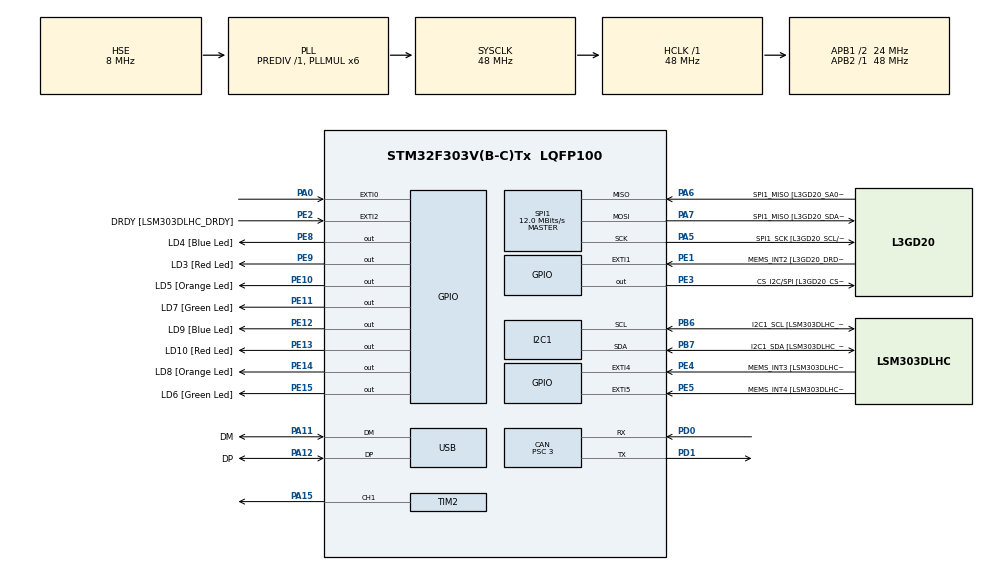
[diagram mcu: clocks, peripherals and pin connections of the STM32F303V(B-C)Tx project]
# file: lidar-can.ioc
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CAN.BS1=CAN_BS1_6TQ
CAN.CalculateBaudRate=1000000
CAN.CalculateTimeBit=1000
CAN.CalculateTimeQuantum=125.0
CAN.Mode=CAN_MODE_NORMAL
CAN.Prescaler=3
I2C1.Timing-I2C=0x2000090E
Mcu.Family=STM32F3
Mcu.Name=STM32F303V(B-C)Tx
Mcu.Package=LQFP100
NVIC.CAN_RX1_IRQn=true\:0\:0\:false\:false\:true\:true\:true\:true
NVIC.EXTI0_IRQn=true\:0\:0\:false\:false\:true\:true\:true\:true
NVIC.PriorityGroup=NVIC_PRIORITYGROUP_0
NVIC.USB_LP_CAN_RX0_IRQn=true\:0\:0\:false\:false\:true\:true\:true\:true
PA0.Signal=GPXTI0
PA11.GPIO_Label=DM
PA11.Mode=Device
PA11.Signal=USB_DM
PA12.GPIO_Label=DP
PA12.Mode=Device
PA12.Signal=USB_DP
PA13.GPIO_Label=SWDIO
PA13.Mode=Serial_Wire
PA13.Signal=SYS_JTMS-SWDIO
PA14.GPIO_Label=SWCLK
PA14.Mode=Serial_Wire
PA14.Signal=SYS_JTCK-SWCLK
PA15.Signal=S_TIM2_CH1_ETR
PA5.GPIO_Label=SPI1_SCK [L3GD20_SCL/SPC]
PA5.Mode=Full_Duplex_Master
PA5.Signal=SPI1_SCK
PA6.GPIO_Label=SPI1_MISO [L3GD20_SA0/SDO]
PA6.Mode=Full_Duplex_Master
PA6.Signal=SPI1_MISO
PA7.GPIO_Label=SPI1_MISO [L3GD20_SDA/SDI/SDO]
PA7.Mode=Full_Duplex_Master
PA7.Signal=SPI1_MOSI
PB3.GPIO_Label=SWO
PB3.Signal=SYS_JTDO-TRACESWO
PB6.GPIO_Label=I2C1_SCL [LSM303DLHC_SCL]
PB6.GPIO_Pu=GPIO_PULLUP
PB6.Mode=I2C
PB6.Signal=I2C1_SCL
PB7.GPIO_Label=I2C1_SDA [LSM303DLHC_SDA]
PB7.GPIO_Pu=GPIO_PULLUP
PB7.Mode=I2C
PB7.Signal=I2C1_SDA
PC14-OSC32_IN.GPIO_Label=OSC32_IN
PC14-OSC32_IN.Mode=LSE-External-Oscillator
PC14-OSC32_IN.Signal=RCC_OSC32_IN
PC15-OSC32_OUT.GPIO_Label=OSC32_OUT
PC15-OSC32_OUT.Mode=LSE-External-Oscillator
PC15-OSC32_OUT.Signal=RCC_OSC32_OUT
PD0.GPIO_PuPd=GPIO_PULLUP
PD0.Mode=CAN_Activate
PD0.Signal=CAN_RX
PD1.GPIO_PuPd=GPIO_NOPULL
PD1.Mode=CAN_Activate
PD1.Signal=CAN_TX
PE1.GPIO_Label=MEMS_INT2 [L3GD20_DRDY/INT2]
PE1.GPIO_ModeDefaultEXTI=GPIO_MODE_EVT_RISING
PE1.Signal=GPXTI1
PE10.GPIO_Label=LD5 [Orange Led]
PE10.Signal=GPIO_Output
PE11.GPIO_Label=LD7 [Green Led]
PE11.Signal=GPIO_Output
PE12.GPIO_Label=LD9 [Blue Led]
PE12.Signal=GPIO_Output
PE13.GPIO_Label=LD10 [Red Led]
PE13.Signal=GPIO_Output
PE14.GPIO_Label=LD8 [Orange Led]
PE14.Signal=GPIO_Output
PE15.GPIO_Label=LD6 [Green Led]
PE15.Signal=GPIO_Output
PE2.GPIO_Label=DRDY [LSM303DLHC_DRDY]
PE2.GPIO_ModeDefaultEXTI=GPIO_MODE_EVT_RISING
PE2.Signal=GPXTI2
PE3.GPIO_Label=CS_I2C/SPI [L3GD20_CS_I2C/SPI]
PE3.Signal=GPIO_Output
PE4.GPIO_Label=MEMS_INT3 [LSM303DLHC_INT1]
PE4.GPIO_ModeDefaultEXTI=GPIO_MODE_EVT_RISING
PE4.Signal=GPXTI4
PE5.GPIO_Label=MEMS_INT4 [LSM303DLHC_INT2]
PE5.GPIO_ModeDefaultEXTI=GPIO_MODE_EVT_RISING
PE5.Signal=GPXTI5
PE8.GPIO_Label=LD4 [Blue Led]
PE8.Signal=GPIO_Output
PE9.GPIO_Label=LD3 [Red Led]
PE9.Signal=GPIO_Output
PF0-OSC_IN.GPIO_Label=OSC_IN
PF0-OSC_IN.Mode=HSE-External-Oscillator
PF0-OSC_IN.Signal=RCC_OSC_IN
PF1-OSC_OUT.GPIO_Label=OSC_OUT
PF1-OSC_OUT.Mode=HSE-External-Oscillator
PF1-OSC_OUT.Signal=RCC_OSC_OUT
ProjectManager.HeapSize=0x200
ProjectManager.StackSize=0x400
ProjectManager.TargetToolchain=STM32CubeIDE
RCC.AHBFreq_Value=48000000
RCC.APB1CLKDivider=RCC_HCLK_DIV2
RCC.APB1Freq_Value=24000000
RCC.APB1TimFreq_Value=48000000
RCC.APB2Freq_Value=48000000
RCC.APB2TimFreq_Value=48000000
RCC.CortexFreq_Value=48000000
RCC.HCLKFreq_Value=48000000
RCC.HSE_VALUE=8000000
RCC.HSI_VALUE=8000000
RCC.PLLMUL=RCC_PLL_MUL6
RCC.SYSCLKFreq_VALUE=48000000
RCC.SYSCLKSourceVirtual=RCC_SYSCLKSOURCE_PLLCLK
RCC.USBFreq_Value=48000000
SH.S_TIM2_CH1_ETR.0=TIM2_CH1,PWM Generation1 CH1
SPI1.BaudRatePrescaler=SPI_BAUDRATEPRESCALER_4
SPI1.BaudRatePrescaler-Full_Duplex_Master=SPI_BAUDRATEPRESCALER_2
SPI1.CalculateBaudRate=12.0 MBits/s
SPI1.CalculateBaudRate-Full_Duplex_Master=24.0 MBits/s
SPI1.Direction=SPI_DIRECTION_2LINES
SPI1.Mode=SPI_MODE_MASTER
SPI1.Mode-Full_Duplex_Master=SPI_MODE_MASTER
SPI1.VirtualType=VM_MASTER
TIM2.Channel-PWM\ Generation1\ CH1=TIM_CHANNEL_1
TIM2.Period=200-1
TIM2.Prescaler=4800-1
VP_TIM2_VS_ClockSourceINT.Mode=Internal
board=STM32F3DISCOVERY

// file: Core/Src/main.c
/* USER CODE BEGIN Header */
/**
  ******************************************************************************
  * @file           : main.c
  * @brief          : Main program body
  ******************************************************************************
  * @attention
  *
  * Copyright (c) 2024 STMicroelectronics.
  * All rights reserved.
  *
  * This software is licensed under terms that can be found in the LICENSE file
  * in the root directory of this software component.
  * If no LICENSE file comes with this software, it is provided AS-IS.
  *
  ******************************************************************************
  */
/* USER CODE END Header */
#include "main.h"

/* USER CODE BEGIN PTD */

#define LIDAR_ADD 0x62<<1										// i2c slave address of lidar lite

uint32_t m_distance,object_distance;							// define the variable to get distance value
uint8_t cmd[1];
uint8_t data[2]={10};
//char str[100];

/* USER CODE END PTD */

CAN_HandleTypeDef hcan;

I2C_HandleTypeDef hi2c1;

SPI_HandleTypeDef hspi1;

TIM_HandleTypeDef htim2;

PCD_HandleTypeDef hpcd_USB_FS;

void SystemClock_Config(void);
static void MX_GPIO_Init(void);
static void MX_I2C1_Init(void);
static void MX_SPI1_Init(void);
static void MX_USB_PCD_Init(void);
static void MX_CAN_Init(void);
static void MX_TIM2_Init(void);
/* USER CODE BEGIN PFP */

void configuration_set(int configur);
uint16_t Get_distance();
void one_iteration(uint8_t angle);

/* USER CODE END PFP */

/* USER CODE BEGIN 0 */
CAN_TxHeaderTypeDef txHeader;
CAN_RxHeaderTypeDef RxHeader;
uint8_t TxData[3];
uint8_t RxData[8];
uint32_t mailbox;

uint8_t upper_bound = 25;
uint8_t lower_bound = 7;
int universal_delay = 150;
uint16_t distance = 0;

void HAL_CAN_RxFifo0MsgPendingCallback(CAN_HandleTypeDef *hcan)
{
    HAL_CAN_GetRxMessage(hcan, CAN_RX_FIFO0, &RxHeader, RxData);
    HAL_GPIO_WritePin(GPIOE, GPIO_PIN_10, GPIO_PIN_SET);
}

void HAL_CAN_RxFifo1MsgPendingCallback(CAN_HandleTypeDef *hcan)
{
    HAL_CAN_GetRxMessage(hcan, CAN_RX_FIFO1, &RxHeader, RxData);
    HAL_GPIO_WritePin(GPIOE, GPIO_PIN_11, GPIO_PIN_SET);
}

//bool datacheck = false;

/* USER CODE END 0 */

int main(void)
{

  /* MCU Configuration--------------------------------------------------------*/

  /* Reset of all peripherals, Initializes the Flash interface and the Systick. */
  HAL_Init();

  /* Configure the system clock */
  SystemClock_Config();

  /* Initialize all configured peripherals */
  MX_GPIO_Init();
  MX_I2C1_Init();
  MX_SPI1_Init();
  MX_USB_PCD_Init();
  MX_CAN_Init();
  MX_TIM2_Init();
  /* USER CODE BEGIN 2 */
		HAL_CAN_Start(&hcan);

	    HAL_CAN_ActivateNotification(&hcan, CAN_IT_RX_FIFO0_MSG_PENDING);
	    HAL_CAN_ActivateNotification(&hcan, CAN_IT_RX_FIFO1_MSG_PENDING);

		HAL_TIM_PWM_Start(&htim2, TIM_CHANNEL_1);

		configuration_set(4);

  /* USER CODE END 2 */

  /* Infinite loop */
  /* USER CODE BEGIN WHILE */
  while (1)
  {

	  for (uint8_t i = lower_bound; i<upper_bound; ++i){
		  one_iteration(i);
	  }
	  for (uint8_t i = upper_bound; i>lower_bound; i--){
	  		  one_iteration(i);
	  	  }
    /* USER CODE END WHILE */

  }
}

void SystemClock_Config(void)
{
  RCC_OscInitTypeDef RCC_OscInitStruct = {0};
  RCC_ClkInitTypeDef RCC_ClkInitStruct = {0};
  RCC_PeriphCLKInitTypeDef PeriphClkInit = {0};

  /** Initializes the RCC Oscillators according to the specified parameters
  * in the RCC_OscInitTypeDef structure.
  */
  RCC_OscInitStruct.OscillatorType = RCC_OSCILLATORTYPE_HSI|RCC_OSCILLATORTYPE_HSE;
  RCC_OscInitStruct.HSEState = RCC_HSE_ON;
  RCC_OscInitStruct.HSEPredivValue = RCC_HSE_PREDIV_DIV1;
  RCC_OscInitStruct.HSIState = RCC_HSI_ON;
  RCC_OscInitStruct.HSICalibrationValue = RCC_HSICALIBRATION_DEFAULT;
  RCC_OscInitStruct.PLL.PLLState = RCC_PLL_ON;
  RCC_OscInitStruct.PLL.PLLSource = RCC_PLLSOURCE_HSE;
  RCC_OscInitStruct.PLL.PLLMUL = RCC_PLL_MUL6;
  if (HAL_RCC_OscConfig(&RCC_OscInitStruct) != HAL_OK)
  {
    Error_Handler();
  }

  /** Initializes the CPU, AHB and APB buses clocks
  */
  RCC_ClkInitStruct.ClockType = RCC_CLOCKTYPE_HCLK|RCC_CLOCKTYPE_SYSCLK
                              |RCC_CLOCKTYPE_PCLK1|RCC_CLOCKTYPE_PCLK2;
  RCC_ClkInitStruct.SYSCLKSource = RCC_SYSCLKSOURCE_PLLCLK;
  RCC_ClkInitStruct.AHBCLKDivider = RCC_SYSCLK_DIV1;
  RCC_ClkInitStruct.APB1CLKDivider = RCC_HCLK_DIV2;
  RCC_ClkInitStruct.APB2CLKDivider = RCC_HCLK_DIV1;

  if (HAL_RCC_ClockConfig(&RCC_ClkInitStruct, FLASH_LATENCY_1) != HAL_OK)
  {
    Error_Handler();
  }
  PeriphClkInit.PeriphClockSelection = RCC_PERIPHCLK_USB|RCC_PERIPHCLK_I2C1;
  PeriphClkInit.I2c1ClockSelection = RCC_I2C1CLKSOURCE_HSI;
  PeriphClkInit.USBClockSelection = RCC_USBCLKSOURCE_PLL;
  if (HAL_RCCEx_PeriphCLKConfig(&PeriphClkInit) != HAL_OK)
  {
    Error_Handler();
  }
}

static void MX_CAN_Init(void)
{

  /* USER CODE BEGIN CAN_Init 0 */
    CAN_FilterTypeDef sFilterConfig;
  /* USER CODE END CAN_Init 0 */

  hcan.Instance = CAN;
  hcan.Init.Prescaler = 3;
  hcan.Init.Mode = CAN_MODE_NORMAL;
  hcan.Init.SyncJumpWidth = CAN_SJW_1TQ;
  hcan.Init.TimeSeg1 = CAN_BS1_6TQ;
  hcan.Init.TimeSeg2 = CAN_BS2_1TQ;
  hcan.Init.TimeTriggeredMode = DISABLE;
  hcan.Init.AutoBusOff = DISABLE;
  hcan.Init.AutoWakeUp = DISABLE;
  hcan.Init.AutoRetransmission = DISABLE;
  hcan.Init.ReceiveFifoLocked = DISABLE;
  hcan.Init.TransmitFifoPriority = DISABLE;
  if (HAL_CAN_Init(&hcan) != HAL_OK)
  {
    Error_Handler();
  }
  /* USER CODE BEGIN CAN_Init 2 */

  sFilterConfig.FilterBank = 0;
    sFilterConfig.FilterMode = CAN_FILTERMODE_IDMASK;
    sFilterConfig.FilterScale = CAN_FILTERSCALE_32BIT;
    sFilterConfig.FilterIdHigh = 0x100 << 5;
    sFilterConfig.FilterIdLow = 0x0000;
    sFilterConfig.FilterMaskIdHigh = 0x100 << 5;
    sFilterConfig.FilterMaskIdLow = 0x0000;
    sFilterConfig.FilterFIFOAssignment = CAN_RX_FIFO0;
    sFilterConfig.FilterActivation = ENABLE;
    sFilterConfig.SlaveStartFilterBank = 14;
    if (HAL_CAN_ConfigFilter(&hcan, &sFilterConfig) != HAL_OK)
    {
      Error_Handler();
    }
  /* USER CODE END CAN_Init 2 */

}

static void MX_I2C1_Init(void)
{

  hi2c1.Instance = I2C1;
  hi2c1.Init.Timing = 0x2000090E;
  hi2c1.Init.OwnAddress1 = 0;
  hi2c1.Init.AddressingMode = I2C_ADDRESSINGMODE_7BIT;
  hi2c1.Init.DualAddressMode = I2C_DUALADDRESS_DISABLE;
  hi2c1.Init.OwnAddress2 = 0;
  hi2c1.Init.OwnAddress2Masks = I2C_OA2_NOMASK;
  hi2c1.Init.GeneralCallMode = I2C_GENERALCALL_DISABLE;
  hi2c1.Init.NoStretchMode = I2C_NOSTRETCH_DISABLE;
  if (HAL_I2C_Init(&hi2c1) != HAL_OK)
  {
    Error_Handler();
  }

  /** Configure Analogue filter
  */
  if (HAL_I2CEx_ConfigAnalogFilter(&hi2c1, I2C_ANALOGFILTER_ENABLE) != HAL_OK)
  {
    Error_Handler();
  }

  /** Configure Digital filter
  */
  if (HAL_I2CEx_ConfigDigitalFilter(&hi2c1, 0) != HAL_OK)
  {
    Error_Handler();
  }

}

static void MX_SPI1_Init(void)
{

  /* SPI1 parameter configuration*/
  hspi1.Instance = SPI1;
  hspi1.Init.Mode = SPI_MODE_MASTER;
  hspi1.Init.Direction = SPI_DIRECTION_2LINES;
  hspi1.Init.DataSize = SPI_DATASIZE_4BIT;
  hspi1.Init.CLKPolarity = SPI_POLARITY_LOW;
  hspi1.Init.CLKPhase = SPI_PHASE_1EDGE;
  hspi1.Init.NSS = SPI_NSS_SOFT;
  hspi1.Init.BaudRatePrescaler = SPI_BAUDRATEPRESCALER_4;
  hspi1.Init.FirstBit = SPI_FIRSTBIT_MSB;
  hspi1.Init.TIMode = SPI_TIMODE_DISABLE;
  hspi1.Init.CRCCalculation = SPI_CRCCALCULATION_DISABLE;
  hspi1.Init.CRCPolynomial = 7;
  hspi1.Init.CRCLength = SPI_CRC_LENGTH_DATASIZE;
  hspi1.Init.NSSPMode = SPI_NSS_PULSE_ENABLE;
  if (HAL_SPI_Init(&hspi1) != HAL_OK)
  {
    Error_Handler();
  }

}

static void MX_TIM2_Init(void)
{

  TIM_ClockConfigTypeDef sClockSourceConfig = {0};
  TIM_MasterConfigTypeDef sMasterConfig = {0};
  TIM_OC_InitTypeDef sConfigOC = {0};

  htim2.Instance = TIM2;
  htim2.Init.Prescaler = 4800-1;
  htim2.Init.CounterMode = TIM_COUNTERMODE_UP;
  htim2.Init.Period = 200-1;
  htim2.Init.ClockDivision = TIM_CLOCKDIVISION_DIV1;
  htim2.Init.AutoReloadPreload = TIM_AUTORELOAD_PRELOAD_DISABLE;
  if (HAL_TIM_Base_Init(&htim2) != HAL_OK)
  {
    Error_Handler();
  }
  sClockSourceConfig.ClockSource = TIM_CLOCKSOURCE_INTERNAL;
  if (HAL_TIM_ConfigClockSource(&htim2, &sClockSourceConfig) != HAL_OK)
  {
    Error_Handler();
  }
  if (HAL_TIM_PWM_Init(&htim2) != HAL_OK)
  {
    Error_Handler();
  }
  sMasterConfig.MasterOutputTrigger = TIM_TRGO_RESET;
  sMasterConfig.MasterSlaveMode = TIM_MASTERSLAVEMODE_DISABLE;
  if (HAL_TIMEx_MasterConfigSynchronization(&htim2, &sMasterConfig) != HAL_OK)
  {
    Error_Handler();
  }
  sConfigOC.OCMode = TIM_OCMODE_PWM1;
  sConfigOC.Pulse = 0;
  sConfigOC.OCPolarity = TIM_OCPOLARITY_HIGH;
  sConfigOC.OCFastMode = TIM_OCFAST_DISABLE;
  if (HAL_TIM_PWM_ConfigChannel(&htim2, &sConfigOC, TIM_CHANNEL_1) != HAL_OK)
  {
    Error_Handler();
  }
  HAL_TIM_MspPostInit(&htim2);

}

static void MX_USB_PCD_Init(void)
{

  hpcd_USB_FS.Instance = USB;
  hpcd_USB_FS.Init.dev_endpoints = 8;
  hpcd_USB_FS.Init.speed = PCD_SPEED_FULL;
  hpcd_USB_FS.Init.phy_itface = PCD_PHY_EMBEDDED;
  hpcd_USB_FS.Init.low_power_enable = DISABLE;
  hpcd_USB_FS.Init.battery_charging_enable = DISABLE;
  if (HAL_PCD_Init(&hpcd_USB_FS) != HAL_OK)
  {
    Error_Handler();
  }

}

static void MX_GPIO_Init(void)
{
  GPIO_InitTypeDef GPIO_InitStruct = {0};

  /* GPIO Ports Clock Enable */
  __HAL_RCC_GPIOE_CLK_ENABLE();
  __HAL_RCC_GPIOC_CLK_ENABLE();
  __HAL_RCC_GPIOF_CLK_ENABLE();
  __HAL_RCC_GPIOA_CLK_ENABLE();
  __HAL_RCC_GPIOD_CLK_ENABLE();
  __HAL_RCC_GPIOB_CLK_ENABLE();

  /*Configure GPIO pin Output Level */
  HAL_GPIO_WritePin(GPIOE, CS_I2C_SPI_Pin|LD4_Pin|LD3_Pin|LD5_Pin
                          |LD7_Pin|LD9_Pin|LD10_Pin|LD8_Pin
                          |LD6_Pin, GPIO_PIN_RESET);

  /*Configure GPIO pins : DRDY_Pin MEMS_INT3_Pin MEMS_INT4_Pin MEMS_INT2_Pin */
  GPIO_InitStruct.Pin = DRDY_Pin|MEMS_INT3_Pin|MEMS_INT4_Pin|MEMS_INT2_Pin;
  GPIO_InitStruct.Mode = GPIO_MODE_EVT_RISING;
  GPIO_InitStruct.Pull = GPIO_NOPULL;
  HAL_GPIO_Init(GPIOE, &GPIO_InitStruct);

  /*Configure GPIO pins : CS_I2C_SPI_Pin LD4_Pin LD3_Pin LD5_Pin
                           LD7_Pin LD9_Pin LD10_Pin LD8_Pin
                           LD6_Pin */
  GPIO_InitStruct.Pin = CS_I2C_SPI_Pin|LD4_Pin|LD3_Pin|LD5_Pin
                          |LD7_Pin|LD9_Pin|LD10_Pin|LD8_Pin
                          |LD6_Pin;
  GPIO_InitStruct.Mode = GPIO_MODE_OUTPUT_PP;
  GPIO_InitStruct.Pull = GPIO_NOPULL;
  GPIO_InitStruct.Speed = GPIO_SPEED_FREQ_LOW;
  HAL_GPIO_Init(GPIOE, &GPIO_InitStruct);

  /*Configure GPIO pin : PA0 */
  GPIO_InitStruct.Pin = GPIO_PIN_0;
  GPIO_InitStruct.Mode = GPIO_MODE_IT_RISING;
  GPIO_InitStruct.Pull = GPIO_NOPULL;
  HAL_GPIO_Init(GPIOA, &GPIO_InitStruct);

  /* EXTI interrupt init*/
  HAL_NVIC_SetPriority(EXTI0_IRQn, 0, 0);
  HAL_NVIC_EnableIRQ(EXTI0_IRQn);

}

/* USER CODE BEGIN 4 */

void configuration_set(int configur)      // configuration setting for lidar. it provide different mode of detection
{

	cmd[0] = 0x04;
	HAL_I2C_Mem_Write(&hi2c1,LIDAR_ADD ,0x00,1,cmd,1,0x100);
	switch(configur)
	{
	case 0://default mode , balance mode
		cmd[0]=0x80;
		HAL_I2C_Mem_Write(&hi2c1,LIDAR_ADD ,0x02,1,cmd,1,0x1000);
		cmd[0]=0x04;
		HAL_I2C_Mem_Write(&hi2c1,LIDAR_ADD ,0x04,1,cmd,1,0x1000);
		cmd[0]=0x00;
		HAL_I2C_Mem_Write(&hi2c1,LIDAR_ADD ,0x1c,1,cmd,1,0x1000);
		break;

	case 1://short range, high speed
		cmd[0]=0x1d;
		HAL_I2C_Mem_Write(&hi2c1,LIDAR_ADD ,0x02,1,cmd,1,0x1000);
		cmd[0]=0x08;
		HAL_I2C_Mem_Write(&hi2c1,LIDAR_ADD ,0x04,1,cmd,1,0x1000);
		cmd[0]=0x00;
		HAL_I2C_Mem_Write(&hi2c1,LIDAR_ADD ,0x1c,1,cmd,1,0x1000);
		break;

	case 2://default range, higher speed short range
		cmd[0]=0x80;
		HAL_I2C_Mem_Write(&hi2c1,LIDAR_ADD ,0x02,1,cmd,1,0x1000);
		cmd[0]=0x08;
		HAL_I2C_Mem_Write(&hi2c1,LIDAR_ADD ,0x04,1,cmd,1,0x1000);
		cmd[0]=0x00;
		HAL_I2C_Mem_Write(&hi2c1,LIDAR_ADD ,0x1c,1,cmd,1,0x1000);
		break;

	case 3://maximum Range
		cmd[0]=0xff;
		HAL_I2C_Mem_Write(&hi2c1,LIDAR_ADD ,0x02,1,cmd,1,0x1000);
		cmd[0]=0x08;
		HAL_I2C_Mem_Write(&hi2c1,LIDAR_ADD ,0x04,1,cmd,1,0x1000);
		cmd[0]=0x00;
		HAL_I2C_Mem_Write(&hi2c1,LIDAR_ADD ,0x1c,1,cmd,1,0x1000);
		break;

	case 4://high sensitivity detection, high  measurement
		cmd[0]=0x80;
		HAL_I2C_Mem_Write(&hi2c1,LIDAR_ADD ,0x02,1,cmd,1,0x1000);
		cmd[0]=0x08;
		HAL_I2C_Mem_Write(&hi2c1,LIDAR_ADD ,0x04,1,cmd,1,0x1000);
		cmd[0]=0x80;
		HAL_I2C_Mem_Write(&hi2c1,LIDAR_ADD ,0x1c,1,cmd,1,0x1000);
		break;

	case 5://low sensitivity detection , low  measurement
		cmd[0]=0x80;
		HAL_I2C_Mem_Write(&hi2c1,LIDAR_ADD ,0x02,1,cmd,1,0x1000);
		cmd[0]=0x08;
		HAL_I2C_Mem_Write(&hi2c1,LIDAR_ADD ,0x04,1,cmd,1,0x1000);
		cmd[0]=0xb0;
		HAL_I2C_Mem_Write(&hi2c1,LIDAR_ADD ,0x1c,1,cmd,1,0x1000);
		break;
	}
}

uint16_t Get_distance()     // function to get distance
{
	cmd[0]=0x04;
	HAL_I2C_Mem_Write(&hi2c1,LIDAR_ADD ,0x00,1,cmd,1,100);
	cmd[0]=0x8f;
	HAL_I2C_Master_Transmit(&hi2c1,LIDAR_ADD,cmd,1,100);
	HAL_I2C_Master_Receive(&hi2c1,LIDAR_ADD,data,2,100);
	uint16_t m_distance = (data[0]<<8)|(data[1]);
	return m_distance ;
}

void one_iteration(uint8_t angle){
	htim2.Instance->CCR1 = angle;
	distance = Get_distance();

	txHeader.DLC = 3;
	txHeader.IDE = CAN_ID_STD;
	txHeader.RTR = CAN_RTR_DATA;
	txHeader.StdId = 0x101;
	txHeader.TransmitGlobalTime = DISABLE;
	TxData[0] = (uint8_t)(angle - lower_bound);
	TxData[1] = (uint8_t)(distance>>8);
	TxData[2] = (uint8_t)(distance & 0x00FF);
	if(HAL_CAN_AddTxMessage(&hcan, &txHeader, TxData, &mailbox) != HAL_OK){
		HAL_GPIO_WritePin(GPIOE, GPIO_PIN_9, GPIO_PIN_SET);
	}

	HAL_Delay(universal_delay);
}

/* USER CODE END 4 */

void Error_Handler(void)
{
  __disable_irq();
  while (1)
  {
  }
}
